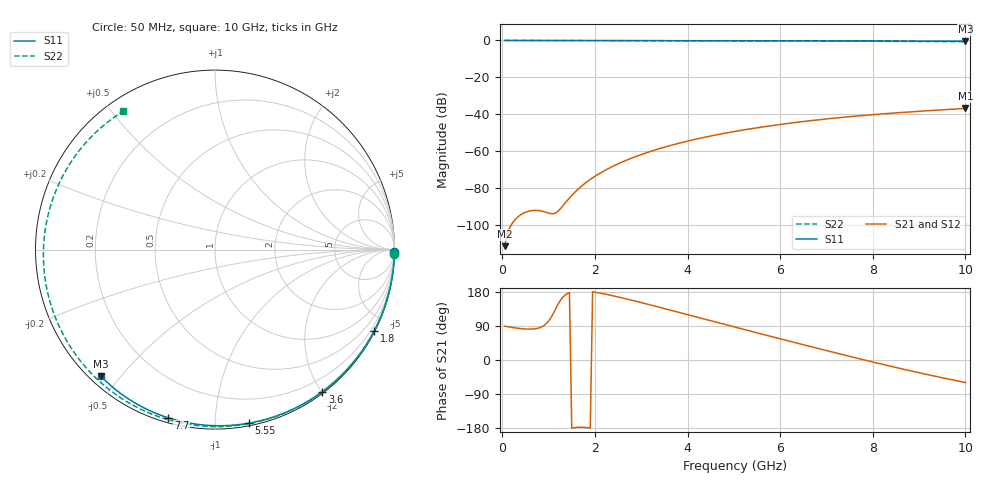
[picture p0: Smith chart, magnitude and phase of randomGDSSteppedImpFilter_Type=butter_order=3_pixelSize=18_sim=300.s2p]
! freq	dB(S11)	phase(S11)	dB(S12)	phase(S12)
!  dB(S21)	phase(S21)	dB(S22)	phase(S22)
!S-par simulation data
#  GHz  S  DB  R 50
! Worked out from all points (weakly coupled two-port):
!   200 points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, 50 MHz to 10 GHz, reference 50 ohm
!   highest |S21| = -36.77 dB at 10 GHz (marker M1); lowest = -111.4 dB at 50 MHz (marker M2)
!   lowest |S11| = -0.4 dB at 10 GHz (marker M3), VSWR 38.80, Z = 1.55 - j22.3 ohm
!   |S11| at or under -10 dB: nowhere
!   |S22| runs from -0.7 to 0.0 dB; largest |S21 - S12| = 0
!   S11 on the Smith chart (normalised r, x): 50 MHz: open; 1.8 GHz: 0.04, -4.15; 3.6 GHz: 0.02, -2.01; 5.55 GHz: 0.02, -1.21; 7.7 GHz: 0.02, -0.76; 10 GHz: 0.03, -0.45
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0.05  -0.00 -0.8  -111.36 89.2  -111.36 89.2  -0.00 -1.3
0.8  -0.02 -12.1  -92.13 84.9  -92.13 84.9  -0.03 -20.9
1.65  -0.03 -24.9  -80.18 -177.4  -80.18 -177.4  -0.05 -42.6
1.75  -0.03 -26.3  -78.05 -177.5  -78.05 -177.5  -0.06 -45.1
1.8  -0.03 -27.1  -77.06 -177.9  -77.06 -177.9  -0.06 -46.4
2.1  -0.04 -31.5  -72.00 176.8  -72.00 176.8  -0.07 -53.8
2.5  -0.05 -37.3  -66.79 166.5  -66.79 166.5  -0.08 -63.5
2.9  -0.06 -43.1  -62.67 154.6  -62.67 154.6  -0.09 -73.0
3.4  -0.07 -50.1  -58.51 139.0  -58.51 139.0  -0.11 -84.6
3.6  -0.07 -52.9  -57.07 132.6  -57.07 132.6  -0.12 -89.1
4.3  -0.09 -62.5  -52.77 110.1  -52.77 110.1  -0.15 -104.7
5.05  -0.11 -72.5  -49.12 86.0  -49.12 86.0  -0.18 -121.0
5.55  -0.13 -79.0  -47.09 70.1  -47.09 70.1  -0.21 -131.6
6.15  -0.15 -86.6  -44.98 51.2  -44.98 51.2  -0.25 -144.4
6.7  -0.18 -93.4  -43.30 34.1  -43.30 34.1  -0.29 -156.1
7.2  -0.21 -99.5  -41.97 18.7  -41.97 18.7  -0.34 -166.9
7.7  -0.24 -105.5  -40.80 3.6  -40.80 3.6  -0.38 -178.1
8.35  -0.29 -113.1  -39.48 -15.5  -39.48 -15.5  -0.46 166.8
8.8  -0.33 -118.3  -38.68 -28.2  -38.68 -28.2  -0.51 155.9
9.2  -0.36 -122.8  -38.03 -39.0  -38.03 -39.0  -0.56 145.6
9.6  -0.40 -127.4  -37.40 -49.4  -37.40 -49.4  -0.62 134.8
10  -0.45 -131.9  -36.77 -59.4  -36.77 -59.4  -0.68 123.5
